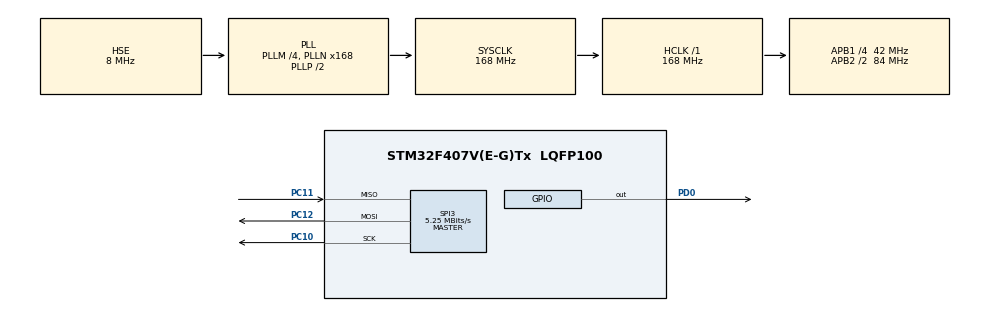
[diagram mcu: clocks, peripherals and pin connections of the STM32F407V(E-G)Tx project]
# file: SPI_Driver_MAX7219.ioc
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Mcu.Family=STM32F4
Mcu.Name=STM32F407V(E-G)Tx
Mcu.Package=LQFP100
NVIC.PriorityGroup=NVIC_PRIORITYGROUP_4
PC10.Mode=Full_Duplex_Master
PC10.Signal=SPI3_SCK
PC11.Mode=Full_Duplex_Master
PC11.Signal=SPI3_MISO
PC12.Mode=Full_Duplex_Master
PC12.Signal=SPI3_MOSI
PD0.Signal=GPIO_Output
PH0-OSC_IN.Mode=HSE-External-Oscillator
PH0-OSC_IN.Signal=RCC_OSC_IN
PH1-OSC_OUT.Mode=HSE-External-Oscillator
PH1-OSC_OUT.Signal=RCC_OSC_OUT
ProjectManager.HeapSize=0x200
ProjectManager.StackSize=0x400
ProjectManager.TargetToolchain=STM32CubeIDE
RCC.48MHZClocksFreq_Value=84000000
RCC.AHBFreq_Value=168000000
RCC.APB1CLKDivider=RCC_HCLK_DIV4
RCC.APB1Freq_Value=42000000
RCC.APB1TimFreq_Value=84000000
RCC.APB2CLKDivider=RCC_HCLK_DIV2
RCC.APB2Freq_Value=84000000
RCC.APB2TimFreq_Value=168000000
RCC.CortexFreq_Value=168000000
RCC.HCLKFreq_Value=168000000
RCC.HSE_VALUE=8000000
RCC.HSI_VALUE=16000000
RCC.LSE_VALUE=32768
RCC.PLLM=4
RCC.PLLN=168
RCC.PLLSourceVirtual=RCC_PLLSOURCE_HSE
RCC.SYSCLKFreq_VALUE=168000000
RCC.SYSCLKSource=RCC_SYSCLKSOURCE_PLLCLK
RCC.VCOOutputFreq_Value=336000000
SPI3.BaudRatePrescaler=SPI_BAUDRATEPRESCALER_8
SPI3.CalculateBaudRate=5.25 MBits/s
SPI3.Direction=SPI_DIRECTION_2LINES
SPI3.Mode=SPI_MODE_MASTER
SPI3.VirtualType=VM_MASTER
board=custom

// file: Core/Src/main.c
/* USER CODE BEGIN Header */
/**
  ******************************************************************************
  * @file           : main.c
  * @brief          : Main program body
  ******************************************************************************
  * @attention
  *
  * Copyright (c) 2025 STMicroelectronics.
  * All rights reserved.
  *
  * This software is licensed under terms that can be found in the LICENSE file
  * in the root directory of this software component.
  * If no LICENSE file comes with this software, it is provided AS-IS.
  *
  ******************************************************************************
  */
/* USER CODE END Header */
#include "main.h"

SPI_HandleTypeDef hspi3;

void SystemClock_Config(void);
static void MX_GPIO_Init(void);
static void MX_SPI3_Init(void);

int main(void)
{

  /* USER CODE BEGIN 1 */
  uint32_t i = 0; //Variable for iteration
  /* USER CODE END 1 */

  /* MCU Configuration--------------------------------------------------------*/

  /* Reset of all peripherals, Initializes the Flash interface and the Systick. */
  HAL_Init();

  /* Configure the system clock */
  SystemClock_Config();

  /* Initialize all configured peripherals */
  MX_GPIO_Init();
  MX_SPI3_Init();
  /* USER CODE BEGIN 2 */
  HAL_Delay(200);
  //----------------------------------------
  Init_max7219();
  Send_in_max7219(1, 0x01);
  Send_in_max7219(2, 0x02);
  Send_in_max7219(3, 0x03);
  Send_in_max7219(4, 0x04);
  Send_in_max7219(5, 0x05);
  Send_in_max7219(6, 0x06);
  Send_in_max7219(7, 0x07);
  Send_in_max7219(8, 0x08);
  //----------------------------------------
  HAL_Delay(2000);
  Clear_7219();
  //----------------------------------------
  DisplayNumber_7219(-4356);
  HAL_Delay(2000);
  Clear_7219();
  /* USER CODE END 2 */

  /* Infinite loop */
  /* USER CODE BEGIN WHILE */
  while (1)
  {
	  DisplayNumber_7219(i);
	  HAL_Delay(200);
	  ++i;
  }
    /* USER CODE END WHILE */

}

void SystemClock_Config(void)
{
  RCC_OscInitTypeDef RCC_OscInitStruct = {0};
  RCC_ClkInitTypeDef RCC_ClkInitStruct = {0};

  /** Configure the main internal regulator output voltage
  */
  __HAL_RCC_PWR_CLK_ENABLE();
  __HAL_PWR_VOLTAGESCALING_CONFIG(PWR_REGULATOR_VOLTAGE_SCALE1);

  /** Initializes the RCC Oscillators according to the specified parameters
  * in the RCC_OscInitTypeDef structure.
  */
  RCC_OscInitStruct.OscillatorType = RCC_OSCILLATORTYPE_HSE;
  RCC_OscInitStruct.HSEState = RCC_HSE_ON;
  RCC_OscInitStruct.PLL.PLLState = RCC_PLL_ON;
  RCC_OscInitStruct.PLL.PLLSource = RCC_PLLSOURCE_HSE;
  RCC_OscInitStruct.PLL.PLLM = 4;
  RCC_OscInitStruct.PLL.PLLN = 168;
  RCC_OscInitStruct.PLL.PLLP = RCC_PLLP_DIV2;
  RCC_OscInitStruct.PLL.PLLQ = 4;
  if (HAL_RCC_OscConfig(&RCC_OscInitStruct) != HAL_OK)
  {
    Error_Handler();
  }

  /** Initializes the CPU, AHB and APB buses clocks
  */
  RCC_ClkInitStruct.ClockType = RCC_CLOCKTYPE_HCLK|RCC_CLOCKTYPE_SYSCLK
                              |RCC_CLOCKTYPE_PCLK1|RCC_CLOCKTYPE_PCLK2;
  RCC_ClkInitStruct.SYSCLKSource = RCC_SYSCLKSOURCE_PLLCLK;
  RCC_ClkInitStruct.AHBCLKDivider = RCC_SYSCLK_DIV1;
  RCC_ClkInitStruct.APB1CLKDivider = RCC_HCLK_DIV4;
  RCC_ClkInitStruct.APB2CLKDivider = RCC_HCLK_DIV2;

  if (HAL_RCC_ClockConfig(&RCC_ClkInitStruct, FLASH_LATENCY_5) != HAL_OK)
  {
    Error_Handler();
  }
}

static void MX_SPI3_Init(void)
{

  /* SPI3 parameter configuration*/
  hspi3.Instance = SPI3;
  hspi3.Init.Mode = SPI_MODE_MASTER;
  hspi3.Init.Direction = SPI_DIRECTION_2LINES;
  hspi3.Init.DataSize = SPI_DATASIZE_8BIT;
  hspi3.Init.CLKPolarity = SPI_POLARITY_LOW;
  hspi3.Init.CLKPhase = SPI_PHASE_1EDGE;
  hspi3.Init.NSS = SPI_NSS_SOFT;
  hspi3.Init.BaudRatePrescaler = SPI_BAUDRATEPRESCALER_8;
  hspi3.Init.FirstBit = SPI_FIRSTBIT_MSB;
  hspi3.Init.TIMode = SPI_TIMODE_DISABLE;
  hspi3.Init.CRCCalculation = SPI_CRCCALCULATION_DISABLE;
  hspi3.Init.CRCPolynomial = 10;
  if (HAL_SPI_Init(&hspi3) != HAL_OK)
  {
    Error_Handler();
  }

}

static void MX_GPIO_Init(void)
{
  GPIO_InitTypeDef GPIO_InitStruct = {0};

  /* GPIO Ports Clock Enable */
  __HAL_RCC_GPIOH_CLK_ENABLE();
  __HAL_RCC_GPIOC_CLK_ENABLE();
  __HAL_RCC_GPIOD_CLK_ENABLE();

  /*Configure GPIO pin Output Level */
  HAL_GPIO_WritePin(GPIOD, GPIO_PIN_0, GPIO_PIN_RESET);

  /*Configure GPIO pin : PD0 */
  GPIO_InitStruct.Pin = GPIO_PIN_0;
  GPIO_InitStruct.Mode = GPIO_MODE_OUTPUT_PP;
  GPIO_InitStruct.Pull = GPIO_NOPULL;
  GPIO_InitStruct.Speed = GPIO_SPEED_FREQ_LOW;
  HAL_GPIO_Init(GPIOD, &GPIO_InitStruct);

}

void Error_Handler(void)
{
  __disable_irq();
  while (1)
  {
  }
}
